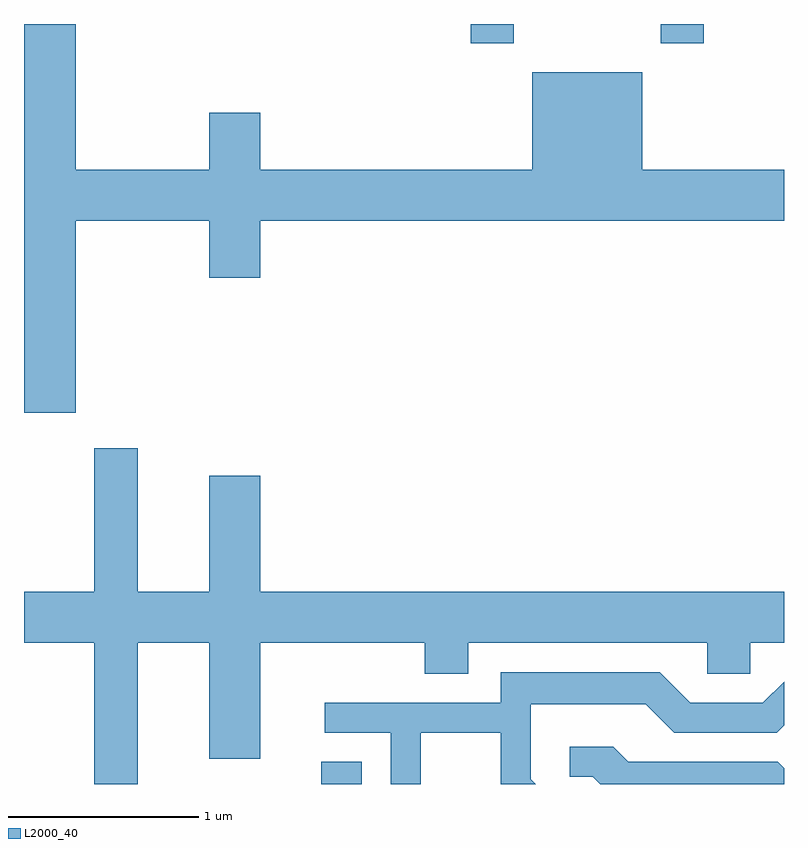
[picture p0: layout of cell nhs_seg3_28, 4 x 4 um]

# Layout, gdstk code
import gdstk
lib = gdstk.Library(unit=1e-6, precision=1e-09)
def R(c, l, rs):  # rectangles x0, y0, x1, y1
    for r in rs: c.add(gdstk.rectangle(r[:2], r[2:], *l))
def P(c, l, *ps):  # polygons
    for p in ps: c.add(gdstk.Polygon(p, *l))
L2000_40 = (2000, 40)

nhs_seg3_28 = lib.new_cell('nhs_seg3_28')
R(nhs_seg3_28, L2000_40, [(187.176,1171.892,187.389,1172.009), (187.961,1175.791,188.189,1175.892), (188.961,1175.791,189.189,1175.892)])
P(nhs_seg3_28, L2000_40, [(185.884,1174.856),(186.586,1174.856),(186.586,1174.556),(186.854,1174.556),(186.854,1174.856),(189.611,1174.856),(189.611,1175.124),(188.864,1175.124),(188.864,1175.639),(188.286,1175.639),(188.286,1175.124),(186.854,1175.124),(186.854,1175.424),(186.586,1175.424),(186.586,1175.124),(185.884,1175.124),(185.884,1175.892),(185.611,1175.892),(185.611,1173.846),(185.884,1173.846)],
  [(186.209,1172.636),(186.586,1172.636),(186.586,1172.026),(186.854,1172.026),(186.854,1172.636),(187.721,1172.636),(187.721,1172.471),(187.949,1172.471),(187.949,1172.636),(189.206,1172.636),(189.206,1172.471),(189.434,1172.471),(189.434,1172.636),(189.611,1172.636),(189.611,1172.904),(186.854,1172.904),(186.854,1173.514),(186.586,1173.514),(186.586,1172.904),(186.209,1172.904),(186.209,1173.659),(185.981,1173.659),(185.981,1172.904),(185.611,1172.904),(185.611,1172.636),(185.981,1172.636),(185.981,1171.892),(186.209,1171.892)],
  [(187.699,1172.161),(188.121,1172.161),(188.121,1171.892),(188.304,1171.892),(188.279,1171.917),(188.279,1172.311),(188.884,1172.311),(189.034,1172.161),(189.572,1172.161),(189.611,1172.2),(189.611,1172.431),(189.499,1172.319),(189.117,1172.319),(188.957,1172.479),(188.121,1172.479),(188.121,1172.319),(187.193,1172.319),(187.193,1172.161),(187.541,1172.161),(187.541,1171.892),(187.699,1171.892)],
  [(189.611,1171.975),(189.577,1172.009),(188.792,1172.009),(188.712,1172.089),(188.483,1172.089),(188.483,1171.931),(188.604,1171.931),(188.643,1171.892),(189.611,1171.892)])

lib.write_gds('nhs_seg3_28.gds')
